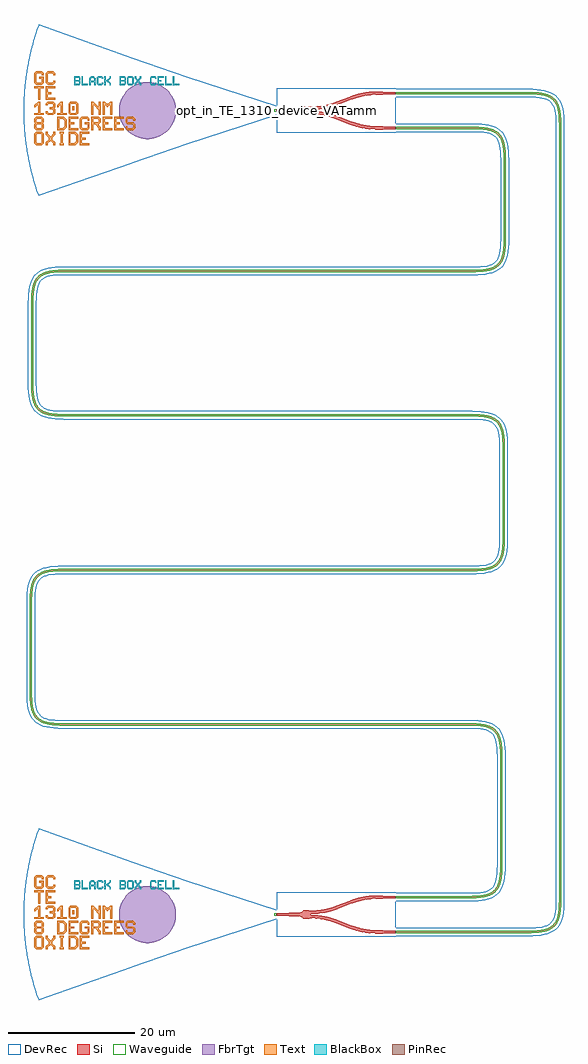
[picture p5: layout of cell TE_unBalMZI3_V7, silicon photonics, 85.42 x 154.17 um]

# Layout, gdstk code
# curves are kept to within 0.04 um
import gdstk
lib = gdstk.Library(unit=1e-6, precision=1e-09)
def R(c, l, rs):  # rectangles x0, y0, x1, y1
    for r in rs: c.add(gdstk.rectangle(r[:2], r[2:], *l))
def P(c, l, *ps):  # polygons
    for p in ps: c.add(gdstk.Polygon(p, *l))
Si = (1, 0)
PinRec = (1, 10)
Waveguide = (1, 99)
Text = (10, 0)
DevRec = (68, 0)
FbrTgt = (81, 0)
BlackBox = (998, 0)

ebeam_y_1310 = lib.new_cell('ebeam_y_1310')
R(ebeam_y_1310, Si, [(6.5,-3,7.4,-2.5), (-7.4,-0.25,-6,0.25), (6.5,2.5,7.4,3)])
P(ebeam_y_1310, Si, [(6.458,-3),(6.237,-2.997),(6.237,-2.497),(6.5,-2.5),(6.5,-3)],
  [(5.033,-2.908),(3.59,-2.634),(2.265,-2.21),(2.445,-1.744),(3.731,-2.154),(5.033,-2.404)],
  [(6.233,-2.997),(5.033,-2.908),(5.033,-2.404),(6.237,-2.497)],
  [(2.265,-2.21),(0.055,-1.356),(0.235,-0.89),(2.445,-1.744)],
  [(-0.762,-1.076),(-2.334,-0.724),(-4,-0.6),(-4,-0.1),(-2.381,-0.212),(-0.762,-0.555)],
  [(0.055,-1.356),(-0.762,-1.076),(-0.762,-0.555),(0.235,-0.89)],
  [(6.237,2.497),(6.237,2.997),(6.5,3),(6.5,2.5)],
  [(2.445,1.744),(2.267,2.211),(3.59,2.634),(5.033,2.908),(5.033,2.404),(3.731,2.154)],
  [(5.033,2.404),(5.033,2.908),(6.237,2.997),(6.237,2.497)],
  [(0.235,0.89),(0.055,1.356),(2.265,2.21),(2.445,1.744)],
  [(-4,0.1),(-4,0.6),(-2.334,0.724),(-0.762,1.076),(-0.762,0.555),(-2.381,0.212)],
  [(-0.762,0.555),(-0.762,1.076),(0.055,1.356),(0.235,0.89)],
  [(-5.122,-0.662),(-5.442,-0.374),(-5.808,-0.255),(-6,-0.25),(-6,0.25),(-5.817,0.253),(-5.442,0.374),(-5.122,0.662)],
  [(-4.957,-0.703),(-5.122,-0.662),(-5.122,0.662),(-4.538,0.703),(-4,0.6),(-4,-0.6),(-4.509,-0.701)],
  [(-7.4,-0.25),(-9.4,-0.175),(-9.4,0.175),(-7.4,0.25)],
  [(7.4,2.5),(7.4,3),(9.4,2.925),(9.4,2.575)],
  [(7.4,-3),(7.4,-2.5),(9.4,-2.575),(9.4,-2.925)])
R(ebeam_y_1310, DevRec, [(-9.4,-3.5,9.4,3.5)])
ebeam_y_1310.add(gdstk.FlexPath([(9.35,2.75),(9.45,2.75)], 0.35, ends="flush", simple_path=True, layer=1, datatype=10))  # PinRec
ebeam_y_1310.add(gdstk.FlexPath([(9.35,-2.75),(9.45,-2.75)], 0.35, ends="flush", simple_path=True, layer=1, datatype=10))  # PinRec
ebeam_y_1310.add(gdstk.FlexPath([(-9.35,0),(-9.45,0)], 0.35, ends="flush", simple_path=True, layer=1, datatype=10))  # PinRec
ebeam_y_1310.add(gdstk.Label('opt2', (9.4,2.75), layer=1, texttype=10))
ebeam_y_1310.add(gdstk.Label('opt3', (9.4,-2.75), layer=1, texttype=10))
ebeam_y_1310.add(gdstk.Label('opt1', (-9.4,0), layer=1, texttype=10))
ebeam_y_1310.add(gdstk.Label('Component=ebeam_y_1310', (-9,1.5), layer=68, texttype=0))
ebeam_y_1310.add(gdstk.Label('Lumerical_INTERCONNECT_library=NONE', (-6.86,-2.19), layer=68, texttype=0))
ebeam_y_1310.add(gdstk.Label('Ref: Y Zhang, Opt. Express, 21/1, 2013, for 1550 nm\nWorks reasonably well at 1310 nm', (-9.25,-1), layer=10, texttype=0))

waveguide_25 = lib.new_cell('Waveguide$25')
P(waveguide_25, Si, [(58.79,143.015),(58.79,143.365),(70.48,143.365),(72.048,143.437),(73.114,143.633),(73.82,143.915),(74.356,144.314),(74.756,144.851),(74.956,145.301),(75.138,145.979),(75.296,147.557),(75.3,165.9),(75.213,167.208),(74.997,168.235),(74.636,169.005),(74.194,169.494),(73.604,169.852),(72.978,170.064),(72.047,170.224),(70.909,170.291),(6.16,170.295),(4.554,170.369),(3.289,170.619),(2.77,170.827),(2.324,171.098),(1.948,171.438),(1.713,171.74),(1.458,172.204),(1.266,172.741),(1.04,174.046),(0.985,175.47),(0.985,189.86),(1.025,191.098),(1.191,192.294),(1.355,192.868),(1.644,193.482),(1.949,193.893),(2.43,194.307),(2.894,194.562),(3.576,194.794),(4.379,194.942),(5.312,195.018),(70.86,195.035),(72.598,195.127),(73.75,195.385),(74.2,195.585),(74.575,195.837),(74.884,196.146),(75.136,196.521),(75.336,196.971),(75.488,197.503),(75.658,198.835),(75.675,214.939),(75.613,215.873),(75.487,216.663),(75.29,217.315),(75.076,217.745),(74.574,218.329),(74.199,218.581),(73.749,218.781),(72.76,219.017),(71.289,219.126),(6.38,219.13),(4.774,219.204),(3.65,219.412),(3.113,219.604),(2.649,219.859),(2.347,220.094),(2.007,220.47),(1.574,221.298),(1.298,222.524),(1.206,224.084),(1.205,237.1),(1.299,238.882),(1.447,239.685),(1.679,240.367),(2.008,240.936),(2.444,241.394),(2.991,241.744),(3.651,241.994),(4.428,242.158),(5.335,242.248),(71.03,242.275),(72.768,242.367),(73.92,242.625),(74.37,242.825),(74.745,243.077),(75.054,243.386),(75.306,243.761),(75.506,244.211),(75.658,244.743),(75.828,246.075),(75.845,260.324),(75.783,261.258),(75.657,262.048),(75.46,262.7),(75.186,263.225),(74.744,263.714),(74.154,264.072),(73.387,264.318),(72.422,264.462),(71.03,264.515),(58.79,264.515),(58.79,264.865),(71.251,264.864),(72.811,264.772),(73.614,264.624),(74.296,264.392),(74.865,264.063),(75.323,263.627),(75.673,263.08),(75.923,262.42),(76.087,261.643),(76.177,260.736),(76.205,247.1),(76.112,245.319),(75.882,244.23),(75.477,243.37),(75.242,243.068),(74.866,242.728),(74.038,242.295),(72.812,242.019),(71.03,241.925),(5.548,241.908),(4.48,241.812),(3.747,241.658),(3.147,241.43),(2.666,241.124),(2.224,240.635),(1.95,240.11),(1.753,239.458),(1.627,238.668),(1.555,237.1),(1.556,224.088),(1.626,222.738),(1.822,221.672),(1.998,221.181),(2.223,220.771),(2.504,220.429),(2.845,220.149),(3.255,219.924),(3.746,219.748),(4.987,219.534),(6.38,219.48),(71.505,219.471),(72.977,219.336),(73.999,219.06),(74.481,218.822),(74.796,218.599),(75.071,218.338),(75.376,217.927),(75.665,217.313),(75.829,216.739),(75.961,215.911),(76.025,214.951),(76.035,199.86),(75.996,198.623),(75.794,197.276),(75.615,196.721),(75.377,196.239),(75.072,195.828),(74.797,195.567),(74.368,195.279),(73.868,195.055),(72.642,194.779),(70.86,194.685),(5.527,194.676),(4.593,194.614),(3.803,194.488),(3.151,194.291),(2.721,194.077),(2.284,193.736),(2.004,193.395),(1.73,192.87),(1.533,192.218),(1.389,191.253),(1.335,189.86),(1.335,175.47),(1.388,174.078),(1.602,172.837),(1.778,172.346),(2.003,171.936),(2.284,171.594),(2.625,171.314),(3.395,170.953),(4.592,170.717),(6.16,170.645),(70.915,170.641),(72.085,170.572),(73.064,170.404),(73.869,170.114),(74.512,169.682),(74.996,169.092),(75.331,168.341),(75.561,167.252),(75.65,165.906),(75.646,147.545),(75.582,146.585),(75.45,145.757),(75.286,145.183),(74.997,144.569),(74.513,143.979),(73.87,143.547),(73.065,143.257),(71.905,143.071),(70.48,143.015)])
P(waveguide_25, Waveguide, [(58.79,143.015),(58.79,143.365),(70.48,143.365),(72.048,143.437),(73.114,143.633),(73.82,143.915),(74.356,144.314),(74.756,144.851),(74.956,145.301),(75.138,145.979),(75.296,147.557),(75.3,165.9),(75.213,167.208),(74.997,168.235),(74.636,169.005),(74.194,169.494),(73.604,169.852),(72.978,170.064),(72.047,170.224),(70.909,170.291),(6.16,170.295),(4.554,170.369),(3.289,170.619),(2.77,170.827),(2.324,171.098),(1.948,171.438),(1.713,171.74),(1.458,172.204),(1.266,172.741),(1.04,174.046),(0.985,175.47),(0.985,189.86),(1.025,191.098),(1.191,192.294),(1.355,192.868),(1.644,193.482),(1.949,193.893),(2.43,194.307),(2.894,194.562),(3.576,194.794),(4.379,194.942),(5.312,195.018),(70.86,195.035),(72.598,195.127),(73.75,195.385),(74.2,195.585),(74.575,195.837),(74.884,196.146),(75.136,196.521),(75.336,196.971),(75.488,197.503),(75.658,198.835),(75.675,214.939),(75.613,215.873),(75.487,216.663),(75.29,217.315),(75.076,217.745),(74.574,218.329),(74.199,218.581),(73.749,218.781),(72.76,219.017),(71.289,219.126),(6.38,219.13),(4.774,219.204),(3.65,219.412),(3.113,219.604),(2.649,219.859),(2.347,220.094),(2.007,220.47),(1.574,221.298),(1.298,222.524),(1.206,224.084),(1.205,237.1),(1.299,238.882),(1.447,239.685),(1.679,240.367),(2.008,240.936),(2.444,241.394),(2.991,241.744),(3.651,241.994),(4.428,242.158),(5.335,242.248),(71.03,242.275),(72.768,242.367),(73.92,242.625),(74.37,242.825),(74.745,243.077),(75.054,243.386),(75.306,243.761),(75.506,244.211),(75.658,244.743),(75.828,246.075),(75.845,260.324),(75.783,261.258),(75.657,262.048),(75.46,262.7),(75.186,263.225),(74.744,263.714),(74.154,264.072),(73.387,264.318),(72.422,264.462),(71.03,264.515),(58.79,264.515),(58.79,264.865),(71.251,264.864),(72.811,264.772),(73.614,264.624),(74.296,264.392),(74.865,264.063),(75.323,263.627),(75.673,263.08),(75.923,262.42),(76.087,261.643),(76.177,260.736),(76.205,247.1),(76.112,245.319),(75.882,244.23),(75.477,243.37),(75.242,243.068),(74.866,242.728),(74.038,242.295),(72.812,242.019),(71.03,241.925),(5.548,241.908),(4.48,241.812),(3.747,241.658),(3.147,241.43),(2.666,241.124),(2.224,240.635),(1.95,240.11),(1.753,239.458),(1.627,238.668),(1.555,237.1),(1.556,224.088),(1.626,222.738),(1.822,221.672),(1.998,221.181),(2.223,220.771),(2.504,220.429),(2.845,220.149),(3.255,219.924),(3.746,219.748),(4.987,219.534),(6.38,219.48),(71.505,219.471),(72.977,219.336),(73.999,219.06),(74.481,218.822),(74.796,218.599),(75.071,218.338),(75.376,217.927),(75.665,217.313),(75.829,216.739),(75.961,215.911),(76.025,214.951),(76.035,199.86),(75.996,198.623),(75.794,197.276),(75.615,196.721),(75.377,196.239),(75.072,195.828),(74.797,195.567),(74.368,195.279),(73.868,195.055),(72.642,194.779),(70.86,194.685),(5.527,194.676),(4.593,194.614),(3.803,194.488),(3.151,194.291),(2.721,194.077),(2.284,193.736),(2.004,193.395),(1.73,192.87),(1.533,192.218),(1.389,191.253),(1.335,189.86),(1.335,175.47),(1.388,174.078),(1.602,172.837),(1.778,172.346),(2.003,171.936),(2.284,171.594),(2.625,171.314),(3.395,170.953),(4.592,170.717),(6.16,170.645),(70.915,170.641),(72.085,170.572),(73.064,170.404),(73.869,170.114),(74.512,169.682),(74.996,169.092),(75.331,168.341),(75.561,167.252),(75.65,165.906),(75.646,147.545),(75.582,146.585),(75.45,145.757),(75.286,145.183),(74.997,144.569),(74.513,143.979),(73.87,143.547),(73.065,143.257),(71.905,143.071),(70.48,143.015)])
P(waveguide_25, DevRec, [(58.79,142.515),(58.79,143.865),(71.717,143.908),(72.689,144.043),(73.407,144.268),(73.905,144.576),(74.259,144.993),(74.526,145.592),(74.628,145.982),(74.795,147.538),(74.805,165.47),(74.762,166.707),(74.627,167.679),(74.402,168.397),(74.094,168.895),(73.904,169.085),(73.406,169.393),(72.688,169.618),(71.716,169.753),(70.48,169.795),(6.16,169.795),(4.218,169.906),(3.155,170.137),(2.248,170.546),(1.519,171.17),(1.005,171.992),(0.826,172.466),(0.595,173.529),(0.485,175.47),(0.485,189.86),(0.532,191.205),(0.693,192.355),(1.006,193.339),(1.236,193.772),(1.52,194.161),(2.249,194.785),(2.682,195.015),(3.666,195.328),(5.462,195.525),(70.86,195.535),(72.097,195.578),(73.459,195.815),(73.787,195.938),(74.285,196.246),(74.475,196.436),(74.783,196.934),(75.087,198.105),(75.175,199.208),(75.174,214.957),(75.007,216.514),(74.905,216.904),(74.638,217.503),(74.474,217.73),(74.057,218.084),(73.458,218.351),(72.615,218.532),(71.512,218.62),(6.38,218.63),(4.438,218.741),(3.375,218.972),(2.468,219.381),(1.739,220.005),(1.225,220.827),(1.046,221.301),(0.815,222.364),(0.705,224.304),(0.705,237.101),(0.816,239.042),(1.047,240.105),(1.226,240.579),(1.74,241.401),(2.08,241.741),(2.469,242.025),(3.376,242.434),(4.439,242.665),(5.682,242.765),(71.03,242.775),(72.267,242.818),(73.629,243.055),(74.228,243.322),(74.455,243.486),(74.809,243.903),(75.076,244.502),(75.178,244.892),(75.313,245.864),(75.344,260.342),(75.177,261.899),(75.075,262.289),(74.808,262.888),(74.454,263.305),(73.956,263.613),(73.238,263.838),(72.266,263.973),(58.79,264.015),(58.79,265.365),(71.031,265.365),(72.971,265.255),(74.034,265.024),(74.508,264.845),(75.33,264.331),(75.67,263.991),(75.954,263.602),(76.363,262.695),(76.594,261.632),(76.694,260.39),(76.705,247.099),(76.595,245.159),(76.364,244.096),(76.185,243.622),(75.671,242.8),(74.942,242.176),(74.035,241.767),(72.972,241.536),(71.03,241.425),(5.728,241.415),(4.172,241.248),(3.782,241.146),(3.183,240.879),(2.766,240.525),(2.458,240.027),(2.154,238.856),(2.055,237.099),(2.097,223.069),(2.232,222.097),(2.334,221.707),(2.601,221.108),(2.765,220.881),(3.182,220.527),(3.781,220.26),(5.143,220.023),(6.38,219.98),(71.558,219.97),(73.354,219.773),(74.338,219.46),(75.16,218.946),(75.784,218.217),(76.014,217.784),(76.327,216.8),(76.524,215.005),(76.535,199.86),(76.489,198.516),(76.328,197.366),(76.194,196.856),(75.785,195.949),(75.161,195.22),(74.772,194.936),(73.865,194.527),(72.802,194.296),(70.86,194.185),(5.508,194.175),(3.952,194.008),(3.562,193.906),(2.963,193.639),(2.736,193.475),(2.382,193.058),(2.115,192.459),(2.013,192.069),(1.878,191.097),(1.835,189.86),(1.877,174.234),(2.012,173.262),(2.114,172.872),(2.381,172.273),(2.545,172.046),(2.962,171.692),(3.561,171.425),(4.923,171.188),(6.16,171.145),(71.178,171.135),(72.421,171.035),(73.484,170.804),(74.391,170.395),(74.78,170.111),(75.404,169.382),(75.813,168.475),(76.044,167.412),(76.144,166.17),(76.145,147.492),(75.948,145.696),(75.635,144.712),(75.405,144.279),(74.781,143.55),(73.959,143.036),(72.975,142.723),(71.825,142.562),(70.481,142.515)])
waveguide_25.add(gdstk.FlexPath([(58.8,264.69),(58.78,264.69)], 0.35, ends="flush", simple_path=True, layer=1, datatype=10))  # PinRec
waveguide_25.add(gdstk.FlexPath([(58.8,143.19),(58.78,143.19)], 0.35, ends="flush", simple_path=True, layer=1, datatype=10))  # PinRec
waveguide_25.add(gdstk.Label('opt1', (58.79,264.69), layer=1, texttype=10))
waveguide_25.add(gdstk.Label('opt2', (58.79,143.19), layer=1, texttype=10))
waveguide_25.add(gdstk.Label('Lumerical_INTERCONNECT_library=Design kits/EBeam', (58.79,264.62), layer=68, texttype=0))
waveguide_25.add(gdstk.Label('Component=ebeam_wg_integral_1310', (58.79,264.76), layer=68, texttype=0))
waveguide_25.add(gdstk.Label('cellName=Waveguide', (58.79,264.83), layer=68, texttype=0))
waveguide_25.add(gdstk.Label('Length=438.117 (microns)', (58.79,264.27), layer=68, texttype=0))
waveguide_25.add(gdstk.Label('waveguide_type=Strip TE 1310 nm, w=350 nm', (58.79,264.55), layer=68, texttype=0))

text = lib.new_cell('TEXT')
P(text, BlackBox, [(0,0),(0,1.4),(0.8,1.4),(1,1.2),(0.2,1.2),(0.2,0.8),(0.7,0.8),(0.8,0.9),(0.8,1.1),(0.7,1.2),(1,1.2),(1,0.8),(0.9,0.7),(1,0.6),(0.2,0.6),(0.2,0.2),(0.7,0.2),(0.8,0.3),(0.8,0.5),(0.7,0.6),(1,0.6),(1,0.2),(0.8,0)],
  [(1.2,0),(1.2,1.4),(1.4,1.4),(1.4,0.2),(2.2,0.2),(2.2,0)],
  [(2.4,0),(2.4,1.1),(2.7,1.4),(3.1,1.4),(3.3,1.2),(2.8,1.2),(2.6,1),(2.6,0.7),(3.2,0.7),(3.2,1),(3,1.2),(3.3,1.2),(3.4,1.1),(3.4,0),(3.2,0),(3.2,0.5),(2.6,0.5),(2.6,0)],
  [(3.8,0),(3.6,0.2),(3.6,1.2),(3.8,1.4),(4.4,1.4),(4.6,1.2),(4.6,1),(4.4,1),(4.4,1.1),(4.3,1.2),(3.9,1.2),(3.8,1.1),(3.8,0.3),(3.9,0.2),(4.3,0.2),(4.4,0.3),(4.4,0.4),(4.6,0.4),(4.6,0.2),(4.4,0)],
  [(4.8,0),(4.8,1.4),(5,1.4),(5,0.8),(5.2,0.8),(5.6,1.2),(5.6,1.4),(5.8,1.4),(5.8,1.1),(5.4,0.7),(5.8,0.3),(5.8,0),(5.6,0),(5.6,0.2),(5.2,0.6),(5,0.6),(5,0)],
  [(7.2,0),(7.2,1.4),(8,1.4),(8.2,1.2),(7.4,1.2),(7.4,0.8),(7.9,0.8),(8,0.9),(8,1.1),(7.9,1.2),(8.2,1.2),(8.2,0.8),(8.1,0.7),(8.2,0.6),(7.4,0.6),(7.4,0.2),(7.9,0.2),(8,0.3),(8,0.5),(7.9,0.6),(8.2,0.6),(8.2,0.2),(8,0)],
  [(8.6,0),(8.4,0.2),(8.4,1.2),(8.6,1.4),(9.2,1.4),(9.4,1.2),(9.4,0.7),(9.2,0.7),(9.2,1.1),(9.1,1.2),(8.7,1.2),(8.6,1.1),(8.6,0.3),(8.7,0.2),(9.1,0.2),(9.2,0.3),(9.2,0.7),(9.4,0.7),(9.4,0.2),(9.2,0)],
  [(9.6,0),(9.6,0.3),(9.9,0.6),(9.9,0.8),(9.6,1.1),(9.6,1.4),(9.8,1.4),(9.8,1.2),(10.1,0.9),(10.4,1.2),(10.4,1.4),(10.6,1.4),(10.6,1.1),(10.3,0.8),(10.3,0.6),(10.6,0.3),(10.6,0),(10.4,0),(10.4,0.2),(10.1,0.5),(9.8,0.2),(9.8,0)],
  [(12.2,0),(12,0.2),(12,1.2),(12.2,1.4),(12.8,1.4),(13,1.2),(13,1),(12.8,1),(12.8,1.1),(12.7,1.2),(12.3,1.2),(12.2,1.1),(12.2,0.3),(12.3,0.2),(12.7,0.2),(12.8,0.3),(12.8,0.4),(13,0.4),(13,0.2),(12.8,0)],
  [(13.2,0),(13.2,1.4),(14.2,1.4),(14.2,1.2),(13.4,1.2),(13.4,0.8),(13.8,0.8),(13.8,0.6),(13.4,0.6),(13.4,0.2),(14.2,0.2),(14.2,0)],
  [(14.4,0),(14.4,1.4),(14.6,1.4),(14.6,0.2),(15.4,0.2),(15.4,0)],
  [(15.6,0),(15.6,1.4),(15.8,1.4),(15.8,0.2),(16.6,0.2),(16.6,0)])

gc_te_1310_8degoxide_bb = lib.new_cell('GC_TE_1310_8degOxide_BB')
R(gc_te_1310_8degoxide_bb, Waveguide, [(-0.4,-0.175,0,0.175)])
R(gc_te_1310_8degoxide_bb, Text, [(-32.27,0.06,-31.97,0.66)])
P(gc_te_1310_8degoxide_bb, Text, [(-37.67,1.71),(-37.67,3.51),(-38.27,3.51),(-38.27,3.81),(-36.77,3.81),(-36.77,3.51),(-37.37,3.51),(-37.37,1.71)],
  [(-37.97,-5.49),(-38.27,-5.19),(-38.27,-3.69),(-37.97,-3.39),(-37.07,-3.39),(-36.77,-3.69),(-36.77,-4.44),(-37.07,-4.44),(-37.07,-3.84),(-37.22,-3.69),(-37.82,-3.69),(-37.97,-3.84),(-37.97,-5.04),(-37.82,-5.19),(-37.22,-5.19),(-37.07,-5.04),(-37.07,-4.44),(-36.77,-4.44),(-36.77,-5.19),(-37.07,-5.49)],
  [(-31.07,-5.49),(-31.07,-3.39),(-29.57,-3.39),(-29.57,-3.69),(-30.77,-3.69),(-30.77,-4.29),(-30.17,-4.29),(-30.17,-4.59),(-30.77,-4.59),(-30.77,-5.19),(-29.57,-5.19),(-29.57,-5.49)],
  [(-32.87,-3.09),(-32.87,-0.99),(-31.37,-0.99),(-31.37,-1.29),(-32.57,-1.29),(-32.57,-1.89),(-31.97,-1.89),(-31.97,-2.19),(-32.57,-2.19),(-32.57,-2.79),(-31.37,-2.79),(-31.37,-3.09)],
  [(-27.47,-3.09),(-27.47,-0.99),(-25.97,-0.99),(-25.97,-1.29),(-27.17,-1.29),(-27.17,-1.89),(-26.57,-1.89),(-26.57,-2.19),(-27.17,-2.19),(-27.17,-2.79),(-25.97,-2.79),(-25.97,-3.09)],
  [(-25.67,-3.09),(-25.67,-0.99),(-24.17,-0.99),(-24.17,-1.29),(-25.37,-1.29),(-25.37,-1.89),(-24.77,-1.89),(-24.77,-2.19),(-25.37,-2.19),(-25.37,-2.79),(-24.17,-2.79),(-24.17,-3.09)],
  [(-36.47,1.71),(-36.47,3.81),(-34.97,3.81),(-34.97,3.51),(-36.17,3.51),(-36.17,2.91),(-35.57,2.91),(-35.57,2.61),(-36.17,2.61),(-36.17,2.01),(-34.97,2.01),(-34.97,1.71)],
  [(-27.47,-0.69),(-27.47,1.41),(-27.17,1.41),(-26.87,1.11),(-26.57,1.11),(-26.27,1.41),(-25.97,1.41),(-25.97,-0.69),(-26.27,-0.69),(-26.27,0.81),(-26.42,0.81),(-26.72,0.51),(-27.02,0.81),(-27.17,0.81),(-27.17,-0.69)],
  [(-29.27,-0.69),(-29.27,1.41),(-28.97,1.41),(-28.22,0.66),(-28.07,0.66),(-28.07,1.41),(-27.77,1.41),(-27.77,-0.69),(-28.07,-0.69),(-28.07,0.06),(-28.82,0.81),(-28.97,0.81),(-28.97,-0.69)],
  [(-34.22,-5.49),(-34.22,-5.19),(-34.07,-5.19),(-34.07,-3.69),(-34.22,-3.69),(-34.22,-3.39),(-33.62,-3.39),(-33.62,-3.69),(-33.77,-3.69),(-33.77,-5.19),(-33.62,-5.19),(-33.62,-5.49)],
  [(-36.17,-0.69),(-36.47,-0.39),(-36.47,-0.09),(-36.17,-0.09),(-36.17,-0.24),(-36.02,-0.39),(-35.42,-0.39),(-35.27,-0.24),(-35.27,0.06),(-35.42,0.21),(-35.87,0.21),(-35.87,0.51),(-35.42,0.51),(-35.27,0.66),(-35.27,0.96),(-35.42,1.11),(-36.02,1.11),(-36.17,0.96),(-36.17,0.81),(-36.47,0.81),(-36.47,1.11),(-36.17,1.41),(-35.27,1.41),(-34.97,1.11),(-34.97,0.51),(-35.12,0.36),(-34.97,0.21),(-34.97,-0.39),(-35.27,-0.69)],
  [(-29.27,-3.09),(-29.27,-0.99),(-28.07,-0.99),(-27.77,-1.29),(-28.97,-1.29),(-28.97,-1.89),(-28.22,-1.89),(-28.07,-1.74),(-28.07,-1.44),(-28.22,-1.29),(-27.77,-1.29),(-27.77,-1.89),(-28.07,-2.19),(-28.07,-2.34),(-27.77,-2.64),(-27.77,-3.09),(-28.07,-3.09),(-28.07,-2.79),(-28.67,-2.19),(-28.97,-2.19),(-28.97,-3.09)],
  [(-30.77,-3.09),(-31.07,-2.79),(-31.07,-1.29),(-30.77,-0.99),(-29.87,-0.99),(-29.57,-1.29),(-29.57,-1.59),(-29.87,-1.59),(-29.87,-1.44),(-30.02,-1.29),(-30.62,-1.29),(-30.77,-1.44),(-30.77,-2.64),(-30.62,-2.79),(-30.02,-2.79),(-29.87,-2.64),(-29.87,-2.19),(-30.32,-2.19),(-30.32,-1.89),(-29.57,-1.89),(-29.57,-2.79),(-29.87,-3.09)],
  [(-37.97,4.11),(-38.27,4.41),(-38.27,5.91),(-37.97,6.21),(-37.07,6.21),(-36.77,5.91),(-36.77,5.61),(-37.07,5.61),(-37.07,5.76),(-37.22,5.91),(-37.82,5.91),(-37.97,5.76),(-37.97,4.56),(-37.82,4.41),(-37.22,4.41),(-37.07,4.56),(-37.07,5.01),(-37.52,5.01),(-37.52,5.31),(-36.77,5.31),(-36.77,4.41),(-37.07,4.11)],
  [(-32.57,-0.69),(-32.87,-0.39),(-32.87,1.11),(-32.57,1.41),(-31.67,1.41),(-31.37,1.11),(-32.42,1.11),(-32.57,0.96),(-32.57,-0.24),(-32.42,-0.39),(-31.82,-0.39),(-31.67,-0.24),(-31.67,0.96),(-31.82,1.11),(-31.37,1.11),(-31.37,-0.39),(-31.67,-0.69)],
  [(-32.87,-5.49),(-32.87,-3.39),(-31.82,-3.39),(-31.52,-3.69),(-32.57,-3.69),(-32.57,-5.19),(-31.97,-5.19),(-31.67,-4.89),(-31.67,-3.99),(-31.97,-3.69),(-31.52,-3.69),(-31.37,-3.84),(-31.37,-5.04),(-31.82,-5.49)],
  [(-34.67,-3.09),(-34.67,-0.99),(-33.62,-0.99),(-33.32,-1.29),(-34.37,-1.29),(-34.37,-2.79),(-33.77,-2.79),(-33.47,-2.49),(-33.47,-1.59),(-33.77,-1.29),(-33.32,-1.29),(-33.17,-1.44),(-33.17,-2.64),(-33.62,-3.09)],
  [(-23.57,-3.09),(-23.87,-2.79),(-23.87,-2.49),(-23.57,-2.49),(-23.57,-2.64),(-23.42,-2.79),(-22.82,-2.79),(-22.67,-2.64),(-22.67,-2.34),(-22.82,-2.19),(-23.57,-2.19),(-23.87,-1.89),(-23.87,-1.29),(-23.57,-0.99),(-22.67,-0.99),(-22.37,-1.29),(-22.37,-1.59),(-22.67,-1.59),(-22.67,-1.44),(-22.82,-1.29),(-23.42,-1.29),(-23.57,-1.44),(-23.57,-1.74),(-23.42,-1.89),(-22.67,-1.89),(-22.37,-2.19),(-22.37,-2.79),(-22.67,-3.09)],
  [(-37.97,-3.09),(-38.27,-2.79),(-38.27,-2.19),(-38.12,-2.04),(-38.27,-1.89),(-38.27,-1.29),(-37.97,-0.99),(-37.07,-0.99),(-36.77,-1.29),(-37.82,-1.29),(-37.97,-1.44),(-37.97,-1.74),(-37.82,-1.89),(-37.22,-1.89),(-37.07,-1.74),(-37.07,-1.44),(-37.22,-1.29),(-36.77,-1.29),(-36.77,-1.89),(-36.92,-2.04),(-36.77,-2.19),(-37.82,-2.19),(-37.97,-2.34),(-37.97,-2.64),(-37.82,-2.79),(-37.22,-2.79),(-37.07,-2.64),(-37.07,-2.34),(-37.22,-2.19),(-36.77,-2.19),(-36.77,-2.79),(-37.07,-3.09)],
  [(-38.27,-0.69),(-38.27,-0.39),(-37.67,-0.39),(-37.67,0.81),(-37.82,0.81),(-38.12,0.51),(-38.27,0.51),(-38.27,0.81),(-37.67,1.41),(-37.37,1.41),(-37.37,-0.39),(-36.77,-0.39),(-36.77,-0.69)],
  [(-34.67,-0.69),(-34.67,-0.39),(-34.07,-0.39),(-34.07,0.81),(-34.22,0.81),(-34.52,0.51),(-34.67,0.51),(-34.67,0.81),(-34.07,1.41),(-33.77,1.41),(-33.77,-0.39),(-33.17,-0.39),(-33.17,-0.69)],
  [(-36.47,-5.49),(-36.47,-5.04),(-36.02,-4.59),(-36.02,-4.29),(-36.47,-3.84),(-36.47,-3.39),(-36.17,-3.39),(-36.17,-3.69),(-35.72,-4.14),(-35.27,-3.69),(-35.27,-3.39),(-34.97,-3.39),(-34.97,-3.84),(-35.42,-4.29),(-35.42,-4.59),(-34.97,-5.04),(-34.97,-5.49),(-35.27,-5.49),(-35.27,-5.19),(-35.72,-4.74),(-36.17,-5.19),(-36.17,-5.49)],
  [(-36.17,4.11),(-36.47,4.41),(-36.47,5.91),(-36.17,6.21),(-35.27,6.21),(-34.97,5.91),(-34.97,5.61),(-35.27,5.61),(-35.27,5.76),(-35.42,5.91),(-36.02,5.91),(-36.17,5.76),(-36.17,4.56),(-36.02,4.41),(-35.42,4.41),(-35.27,4.56),(-35.27,4.71),(-34.97,4.71),(-34.97,4.41),(-35.27,4.11)])
P(gc_te_1310_8degoxide_bb, DevRec, [(-37.607,-13.5),(-38.627,-10.245),(-39.378,-6.832),(-39.647,-5.058),(-39.835,-3.274),(-39.969,0.224),(-39.812,3.541),(-39.331,7.097),(-38.557,10.505),(-37.546,13.669),(-22.8,8.353),(-14.109,5.36),(0,0.75),(0,-0.75),(-14.109,-5.36)])
P(gc_te_1310_8degoxide_bb, FbrTgt, [(-20.621,-4.5),(-21.495,-4.37),(-22.326,-4.073),(-23.084,-3.619),(-23.738,-3.026),(-24.264,-2.316),(-24.642,-1.518),(-24.857,-0.661),(-24.9,0.221),(-24.77,1.095),(-24.473,1.926),(-24.019,2.684),(-23.426,3.338),(-22.716,3.864),(-21.918,4.242),(-21.061,4.457),(-20.179,4.5),(-19.305,4.37),(-18.474,4.073),(-17.716,3.619),(-17.062,3.026),(-16.536,2.316),(-16.158,1.518),(-15.943,0.661),(-15.9,-0.221),(-16.03,-1.095),(-16.327,-1.926),(-16.781,-2.684),(-17.374,-3.338),(-18.084,-3.864),(-18.882,-4.242),(-19.739,-4.457)])
gc_te_1310_8degoxide_bb.add(gdstk.FlexPath([(-0.01,0),(0.01,0)], 0.35, ends="flush", simple_path=True, layer=1, datatype=10))  # PinRec
gc_te_1310_8degoxide_bb.add(gdstk.Reference(text, (-32,4)))
gc_te_1310_8degoxide_bb.add(gdstk.Label('opt1', (0,0), layer=1, texttype=10))
gc_te_1310_8degoxide_bb.add(gdstk.Label('Lumerical_INTERCONNECT_library=Design kits/ebeam', (-29,-7), layer=68, texttype=0))
gc_te_1310_8degoxide_bb.add(gdstk.Label('Component=GC_TE_1310_8degOxide_BB', (-28,-5), layer=68, texttype=0))

waveguide_22 = lib.new_cell('Waveguide$22')
P(waveguide_22, Si, [(58.79,137.515),(58.79,137.865),(79.77,137.865),(81.508,137.957),(82.128,138.063),(82.78,138.26),(83.21,138.474),(83.567,138.739),(83.927,139.156),(84.152,139.566),(84.457,140.633),(84.556,141.479),(84.595,142.69),(84.595,265.19),(84.555,266.402),(84.427,267.402),(84.245,268.08),(84.045,268.53),(83.793,268.905),(83.484,269.214),(83.109,269.466),(82.534,269.708),(81.827,269.877),(81.162,269.962),(79.77,270.015),(58.79,270.015),(58.79,270.365),(79.991,270.364),(81.007,270.326),(81.887,270.221),(82.64,270.042),(83.277,269.772),(83.802,269.402),(84.216,268.921),(84.524,268.33),(84.739,267.624),(84.871,266.796),(84.94,265.626),(84.945,142.69),(84.906,141.453),(84.801,140.573),(84.622,139.82),(84.414,139.301),(84.143,138.855),(83.803,138.479),(83.392,138.174),(82.91,137.936),(82.355,137.757),(81.552,137.609),(79.77,137.515)])
P(waveguide_22, Waveguide, [(58.79,137.515),(58.79,137.865),(79.77,137.865),(81.508,137.957),(82.128,138.063),(82.78,138.26),(83.21,138.474),(83.567,138.739),(83.927,139.156),(84.152,139.566),(84.457,140.633),(84.556,141.479),(84.595,142.69),(84.595,265.19),(84.555,266.402),(84.427,267.402),(84.245,268.08),(84.045,268.53),(83.793,268.905),(83.484,269.214),(83.109,269.466),(82.534,269.708),(81.827,269.877),(81.162,269.962),(79.77,270.015),(58.79,270.015),(58.79,270.365),(79.991,270.364),(81.007,270.326),(81.887,270.221),(82.64,270.042),(83.277,269.772),(83.802,269.402),(84.216,268.921),(84.524,268.33),(84.739,267.624),(84.871,266.796),(84.94,265.626),(84.945,142.69),(84.906,141.453),(84.801,140.573),(84.622,139.82),(84.414,139.301),(84.143,138.855),(83.803,138.479),(83.392,138.174),(82.91,137.936),(82.355,137.757),(81.552,137.609),(79.77,137.515)])
P(waveguide_22, DevRec, [(58.79,137.015),(58.79,138.365),(79.77,138.365),(81.526,138.464),(82.369,138.645),(82.697,138.768),(83.195,139.076),(83.385,139.266),(83.693,139.764),(83.997,140.935),(84.095,142.69),(84.095,265.19),(84.052,266.427),(83.917,267.399),(83.815,267.789),(83.548,268.388),(83.384,268.615),(82.967,268.969),(82.368,269.236),(81.978,269.338),(81.006,269.473),(58.79,269.515),(58.79,270.865),(79.77,270.865),(81.711,270.755),(82.774,270.524),(83.248,270.345),(84.07,269.831),(84.41,269.491),(84.694,269.102),(85.103,268.195),(85.334,267.132),(85.434,265.89),(85.445,142.69),(85.335,140.749),(85.104,139.686),(84.925,139.212),(84.411,138.39),(84.071,138.05),(83.249,137.536),(82.775,137.357),(81.712,137.126),(79.77,137.015)])
waveguide_22.add(gdstk.FlexPath([(58.8,270.19),(58.78,270.19)], 0.35, ends="flush", simple_path=True, layer=1, datatype=10))  # PinRec
waveguide_22.add(gdstk.FlexPath([(58.8,137.69),(58.78,137.69)], 0.35, ends="flush", simple_path=True, layer=1, datatype=10))  # PinRec
waveguide_22.add(gdstk.Label('opt1', (58.79,270.19), layer=1, texttype=10))
waveguide_22.add(gdstk.Label('opt2', (58.79,137.69), layer=1, texttype=10))
waveguide_22.add(gdstk.Label('Lumerical_INTERCONNECT_library=Design kits/EBeam', (58.79,270.12), layer=68, texttype=0))
waveguide_22.add(gdstk.Label('Component=ebeam_wg_integral_1310', (58.79,270.26), layer=68, texttype=0))
waveguide_22.add(gdstk.Label('cellName=Waveguide', (58.79,270.33), layer=68, texttype=0))
waveguide_22.add(gdstk.Label('Spice_param:wg_length=0.000181367 wg_width=3.5e-07 points="[[58.79,270.19],[84.77,270.19],[84.77,137.69],[58.79,137.69]]" radius=5e-06', (58.79,270.19), layer=68, texttype=0))
waveguide_22.add(gdstk.Label('Length=181.367 (microns)', (58.79,269.77), layer=68, texttype=0))
waveguide_22.add(gdstk.Label('waveguide_type=Strip TE 1310 nm, w=350 nm', (58.79,270.05), layer=68, texttype=0))

te_unbalmzi3_v7 = lib.new_cell('TE_unBalMZI3_V7')
te_unbalmzi3_v7.add(gdstk.Reference(ebeam_y_1310, (49.39,140.44)))
te_unbalmzi3_v7.add(gdstk.Reference(ebeam_y_1310, (49.39,267.44)))
te_unbalmzi3_v7.add(gdstk.Reference(waveguide_25, (0,0)))
te_unbalmzi3_v7.add(gdstk.Reference(gc_te_1310_8degoxide_bb, (39.99,140.44)))
te_unbalmzi3_v7.add(gdstk.Reference(gc_te_1310_8degoxide_bb, (39.99,267.44)))
te_unbalmzi3_v7.add(gdstk.Reference(waveguide_22, (0,0)))
te_unbalmzi3_v7.add(gdstk.Label('opt_in_TE_1310_device_VATamma_devV7unBalMZI3', (39.99,267.41), layer=10, texttype=0))

lib.write_gds('TE_unBalMZI3_V7.gds')
